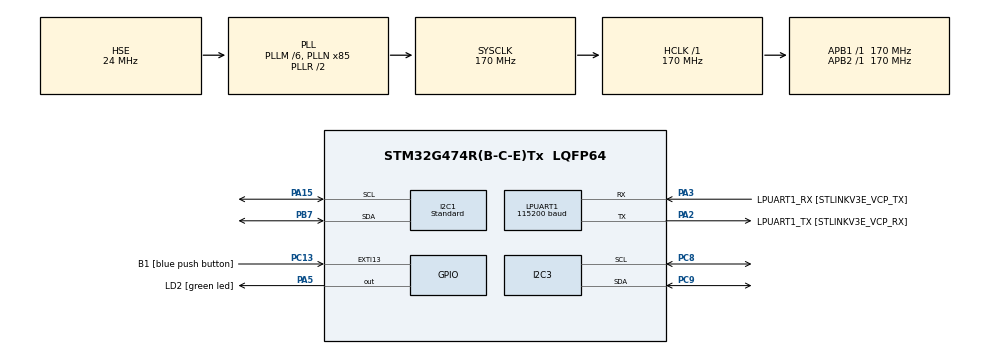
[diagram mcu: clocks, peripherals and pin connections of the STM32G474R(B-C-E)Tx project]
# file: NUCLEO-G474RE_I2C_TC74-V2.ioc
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I2C1.I2C_Speed_Mode=I2C_Standard
I2C1.Timing=0x30A0A7FB
I2C3.Timing=0x30A0A7FB
LPUART1.BaudRate=115200
LPUART1.WordLength=UART_WORDLENGTH_8B
Mcu.Family=STM32G4
Mcu.Name=STM32G474R(B-C-E)Tx
Mcu.Package=LQFP64
NVIC.EXTI15_10_IRQn=true\:0\:0\:false\:false\:true\:true\:true\:true
NVIC.PriorityGroup=NVIC_PRIORITYGROUP_4
PA13.GPIO_Label=T_SWDIO
PA13.Mode=Trace_Asynchronous_SW
PA13.Signal=SYS_JTMS-SWDIO
PA14.GPIO_Label=T_SWCLK
PA14.Mode=Trace_Asynchronous_SW
PA14.Signal=SYS_JTCK-SWCLK
PA15.Mode=I2C
PA15.Signal=I2C1_SCL
PA2.GPIO_Label=LPUART1_TX [STLINKV3E_VCP_RX]
PA2.Mode=Asynchronous
PA2.Signal=LPUART1_TX
PA3.GPIO_Label=LPUART1_RX [STLINKV3E_VCP_TX]
PA3.Mode=Asynchronous
PA3.Signal=LPUART1_RX
PA5.GPIO_Label=LD2 [green led]
PA5.Signal=GPIO_Output
PB3.GPIO_Label=T_SWO
PB3.Mode=Trace_Asynchronous_SW
PB3.Signal=SYS_JTDO-SWO
PB7.Mode=I2C
PB7.Signal=I2C1_SDA
PC13.GPIO_Label=B1 [blue push button]
PC13.Signal=GPXTI13
PC14-OSC32_IN.Mode=LSE-External-Oscillator
PC14-OSC32_IN.Signal=RCC_OSC32_IN
PC15-OSC32_OUT.Mode=LSE-External-Oscillator
PC15-OSC32_OUT.Signal=RCC_OSC32_OUT
PC8.Mode=I2C
PC8.Signal=I2C3_SCL
PC9.Mode=I2C
PC9.Signal=I2C3_SDA
PF0-OSC_IN.Mode=HSE-External-Oscillator
PF0-OSC_IN.Signal=RCC_OSC_IN
PF1-OSC_OUT.Mode=HSE-External-Oscillator
PF1-OSC_OUT.Signal=RCC_OSC_OUT
ProjectManager.HeapSize=0x200
ProjectManager.StackSize=0x400
ProjectManager.TargetToolchain=STM32CubeIDE
RCC.ADC12Freq_Value=170000000
RCC.ADC345Freq_Value=170000000
RCC.AHBFreq_Value=170000000
RCC.APB1Freq_Value=170000000
RCC.APB1TimFreq_Value=170000000
RCC.APB2Freq_Value=170000000
RCC.APB2TimFreq_Value=170000000
RCC.CortexFreq_Value=170000000
RCC.EXTERNAL_CLOCK_VALUE=12288000
RCC.HCLKFreq_Value=170000000
RCC.HSE_VALUE=24000000
RCC.HSI48_VALUE=48000000
RCC.HSI_VALUE=16000000
RCC.PLLM=RCC_PLLM_DIV6
RCC.PLLN=85
RCC.PLLSourceVirtual=RCC_PLLSOURCE_HSE
RCC.RTCClockSelection=RCC_RTCCLKSOURCE_LSE
RCC.SYSCLKFreq_VALUE=170000000
RCC.SYSCLKSource=RCC_SYSCLKSOURCE_PLLCLK
RCC.USBFreq_Value=170000000
RCC.VCOOutputFreq_Value=340000000
VP_SYS_VS_DBSignals.Mode=DisableDeadBatterySignals
board=NUCLEO-G474RE

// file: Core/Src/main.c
/* USER CODE BEGIN Header */
/**
 ******************************************************************************
 * @file           : main.c
 * @brief          : Main program body
 ******************************************************************************
 * @attention
 *
 * Copyright (c) 2023 STMicroelectronics.
 * All rights reserved.
 *
 * This software is licensed under terms that can be found in the LICENSE file
 * in the root directory of this software component.
 * If no LICENSE file comes with this software, it is provided AS-IS.
 *
 ******************************************************************************
 */
/* USER CODE END Header */
#include "main.h"

/* USER CODE BEGIN Includes */

#include <stdio.h>

/* USER CODE END Includes */

/* USER CODE BEGIN PD */

#define TC74_Standby 0x80
#define TC74_Normal 0x00
#define TC74_Address 0x4d
#define TC74_I2C_delay 200

/* USER CODE END PD */

I2C_HandleTypeDef hi2c1;
I2C_HandleTypeDef hi2c3;

UART_HandleTypeDef hlpuart1;

/* USER CODE BEGIN PV */

enum TC74_Command{
	TempCommand = 0,
	ConfigCommand,
};

enum TC74_ReadWriteFunc{
	TC74_ReadFunc = 0,
	TC74_WriteFunc,
	TC74_ReadTemperatureFunc,
	TC74_ReadConfigFunc,
	TC74_WriteConfigFunc,
};

/* USER CODE END PV */

void SystemClock_Config(void);
static void MX_GPIO_Init(void);
static void MX_LPUART1_UART_Init(void);
static void MX_I2C1_Init(void);
static void MX_I2C3_Init(void);
/* USER CODE BEGIN PFP */

#define PUTCHAR_PROTOTYPE int __io_putchar(int ch)

void TC74_Byte_ReadFunc_Temp (void);
void TC74_Byte_ReadFunc_Config (void);
void TC74_ReadFunc_LastCommand (void);
void TC74_Byte_ReadWriteFunc_ReadTemp (void);
void TC74_Byte_ReadWriteFunc_ReadConfig (void);
void TC74_Byte_ReadWriteFunc_WriteConfig_Normal (void);
void TC74_Byte_ReadWriteFunc_WriteConfig_Standby (void);
HAL_StatusTypeDef TC74_Byte_Read(I2C_HandleTypeDef *hi2c, uint16_t DevAddress, uint16_t Command, uint8_t *pData, uint32_t Timeout);
HAL_StatusTypeDef TC74_Byte_Write(I2C_HandleTypeDef *hi2c, uint16_t DevAddress, uint16_t Command, uint8_t *pData, uint32_t Timeout);
HAL_StatusTypeDef TC74_Receive_LastReadWriteAddress(I2C_HandleTypeDef *hi2c, uint16_t DevAddress, uint8_t *pData, uint32_t Timeout);
HAL_StatusTypeDef TC74_Byte_ReadWrite(I2C_HandleTypeDef *hi2c, uint16_t TC74_ReadWriteFunc, uint16_t DevAddress, uint8_t *pData, uint32_t Timeout);

/* USER CODE END PFP */

int main(void)
{

  /* MCU Configuration--------------------------------------------------------*/

  /* Reset of all peripherals, Initializes the Flash interface and the Systick. */
  HAL_Init();

  /* Configure the system clock */
  SystemClock_Config();

  /* Initialize all configured peripherals */
  MX_GPIO_Init();
  MX_LPUART1_UART_Init();
  MX_I2C1_Init();
  MX_I2C3_Init();
  /* USER CODE BEGIN 2 */

	printf("\n\n=======================================\n");
	printf("Start >> NUCLEO-G474RE_I2C_TC74-V2 \n");

	/*
	printf("----\n");
	printf("TC74_Byte_Read address = %X \n", TempCommand);
	TC74_Byte_Read(&hi2c3, TC74_Address, TempCommand, &TC74_temperature, 10);
	printf("TC74_temperature read data = %d \n", TC74_temperature);

	printf("----\n");
	printf("TC74_Byte_Read address = %X \n", ConfigCommand);
	TC74_Byte_Read(&hi2c3, TC74_Address, ConfigCommand, &TC74_config, 10);
	printf("TC74_config read data = %X \n", TC74_config);

	printf("----\n");
	printf("TC74_Byte_Write address = %X \n", ConfigCommand);
	TC74_config = TC74_Standby;
	TC74_Byte_Write(&hi2c3, TC74_Address, ConfigCommand, &TC74_config, 10);
	printf("TC74_config write data = %X \n", TC74_config);

	printf("----\n");
	printf("TC74_Byte_Read address = %X \n", TempCommand);
	TC74_Byte_Read(&hi2c3, TC74_Address, TempCommand, &TC74_temperature, 10);
	printf("TC74_temperature read data = %d \n", TC74_temperature);

	printf("----\n");
	printf("TC74_Byte_Read address = %X \n", TempCommand);
	TC74_Byte_Read(&hi2c3, TC74_Address, TempCommand, &TC74_temperature, 10);
	printf("TC74_temperature read data = %d \n", TC74_temperature);

	printf("----\n");
	printf("TC74_Receive_LastCommand \n");
	TC74_Receive_LastReadWriteAddress(&hi2c3, TC74_Address, &TC74_LastCommand, 10);
	printf("TC74_LastCommand = 0x%X = %d\n", TC74_LastCommand, TC74_LastCommand);
	*/
/*

	printf("----\n");
	printf("TC74_Byte_ReadWrite  = TC74_ReadConfigFunc \n");
	TC74_Byte_ReadWrite(&hi2c3, TC74_ReadConfigFunc, TC74_Address, &TC74_config, 10);
	printf("TC74_ReadConfigFuncc read data = 0x%X \n", TC74_config);

	printf("----\n");
	printf("TC74_Receive_LastCommand \n");
	TC74_Receive_LastReadWriteAddress(&hi2c3, TC74_Address, &TC74_LastCommand, 10);
	printf("TC74_LastCommand = 0x%X = %d\n", TC74_LastCommand, TC74_LastCommand);

	printf("----\n");
	printf("TC74_Byte_ReadWrite  = TC74_ReadTemperatureFunc \n");
	TC74_Byte_ReadWrite(&hi2c3, TC74_ReadTemperatureFunc, TC74_Address, &TC74_temperature, 10);
	printf("TC74_ReadTemperatureFunc read data = %d \n", TC74_temperature);

	printf("----\n");
	printf("TC74_Receive_LastCommand \n");
	TC74_Receive_LastReadWriteAddress(&hi2c3, TC74_Address, &TC74_LastCommand, 10);
	printf("TC74_LastCommand = 0x%X = %d\n", TC74_LastCommand, TC74_LastCommand);
*/
/*

	printf("----\n"); TC74_config = 0xff; // reset it
	printf("TC74_Byte_ReadWrite  = TC74_ReadConfigFunc \n");
	TC74_Byte_ReadWrite(&hi2c3, TC74_ReadConfigFunc, TC74_Address, &TC74_config, 10);
	printf("TC74_ReadConfigFunc read data = 0x%X \n", TC74_config);

	printf("----\n");
	printf("TC74_Receive_LastCommand \n");
	TC74_Receive_LastReadWriteAddress(&hi2c3, TC74_Address, &TC74_LastCommand, 10);
	printf("TC74_LastCommand = 0x%X = %d\n", TC74_LastCommand, TC74_LastCommand);

	printf("----\n"); TC74_temperature = 0xff; // reset it
	printf("TC74_Byte_ReadWrite  = TC74_ReadTemperatureFunc \n");
	TC74_Byte_ReadWrite(&hi2c3, TC74_ReadTemperatureFunc, TC74_Address, &TC74_temperature, 10);
	printf("TC74_ReadTemperatureFunc read data = %d \n", TC74_temperature);

	printf("----\n");
	TC74_config = TC74_Standby;
	printf("TC74_Byte_ReadWrite  = TC74_WriteConfigFunc = TC74_Standby = 0x%x \n", TC74_config);
	TC74_Byte_ReadWrite(&hi2c3, TC74_WriteConfigFunc, TC74_Address, &TC74_config, 10);
	printf("TC74_ReadConfigFunc write data = 0x%X \n", TC74_config);

	printf("----\n"); TC74_temperature = 0xff; // reset it
	printf("TC74_Byte_ReadWrite  = TC74_ReadTemperatureFunc \n");
	TC74_Byte_ReadWrite(&hi2c3, TC74_ReadTemperatureFunc, TC74_Address, &TC74_temperature, 10);
	printf("TC74_ReadTemperatureFunc read data = %d \n", TC74_temperature);

	printf("----\n"); TC74_LastCommand = 0xff; // reset it
	printf("TC74_Receive_LastCommand \n");
	TC74_Receive_LastReadWriteAddress(&hi2c3, TC74_Address, &TC74_LastCommand, 10);
	printf("TC74_LastCommand = 0x%X = %d\n", TC74_LastCommand, TC74_LastCommand);

	printf("----\n");
	TC74_config = TC74_Normal;
	printf("TC74_Byte_ReadWrite  = TC74_WriteConfigFunc = TC74_Normal = 0x%x \n", TC74_config);
	TC74_Byte_ReadWrite(&hi2c3, TC74_WriteConfigFunc, TC74_Address, &TC74_config, 10);
	printf("TC74_ReadConfigFunc write data = 0x%X \n", TC74_config);

	printf("----\n"); TC74_LastCommand = 0xff; // reset it
	TC74_Receive_LastReadWriteAddress(&hi2c3, TC74_Address, &TC74_LastCommand, 10);
	printf("TC74_LastCommand = 0x%X = %d\n", TC74_LastCommand, TC74_LastCommand);

	printf("----\n");
	printf("TC74_Byte_ReadWrite  = TC74_ReadConfigFunc \n");
	TC74_Byte_ReadWrite(&hi2c3, TC74_ReadConfigFunc, TC74_Address, &TC74_config, 10);
	printf("TC74_ReadConfigFuncc read data = 0x%X \n", TC74_config);

	printf("----\n"); TC74_temperature = 0xff; // reset it
	printf("TC74_Byte_ReadWrite  = TC74_ReadTemperatureFunc \n");
	TC74_Byte_ReadWrite(&hi2c3, TC74_ReadTemperatureFunc, TC74_Address, &TC74_temperature, 10);
	printf("TC74_ReadTemperatureFunc read data = %d \n", TC74_temperature);

	HAL_Delay(100);

	printf("----\n"); TC74_config = 0xff; // reset it
	printf("TC74_Byte_ReadWrite  = TC74_ReadConfigFunc \n");
	TC74_Byte_ReadWrite(&hi2c3, TC74_ReadConfigFunc, TC74_Address, &TC74_config, 10);
	printf("TC74_ReadConfigFuncc read data = 0x%X \n", TC74_config);
*/

	TC74_Byte_ReadFunc_Temp();

    while (HAL_I2C_GetState(&hi2c3) != HAL_I2C_STATE_READY)
    {
    }

	TC74_Byte_ReadFunc_Config();

	TC74_ReadFunc_LastCommand();

	TC74_Byte_ReadWriteFunc_ReadTemp();

	TC74_Byte_ReadWriteFunc_ReadConfig();

	TC74_Byte_ReadWriteFunc_WriteConfig_Standby();

	TC74_Byte_ReadWriteFunc_ReadConfig();

	TC74_Byte_ReadWriteFunc_ReadConfig();

	TC74_Byte_ReadWriteFunc_WriteConfig_Normal();

	TC74_Byte_ReadWriteFunc_ReadConfig();

	TC74_Byte_ReadWriteFunc_ReadConfig();

	printf("----\n");
	printf("End   >> NUCLEO-G474RE_I2C_TC74-V2 \n");
	printf("=======================================\n");

  /* USER CODE END 2 */

  /* Infinite loop */
	while (1)
	{

	}
}

void SystemClock_Config(void)
{
  RCC_OscInitTypeDef RCC_OscInitStruct = {0};
  RCC_ClkInitTypeDef RCC_ClkInitStruct = {0};

  /** Configure the main internal regulator output voltage
  */
  HAL_PWREx_ControlVoltageScaling(PWR_REGULATOR_VOLTAGE_SCALE1_BOOST);

  /** Initializes the RCC Oscillators according to the specified parameters
  * in the RCC_OscInitTypeDef structure.
  */
  RCC_OscInitStruct.OscillatorType = RCC_OSCILLATORTYPE_HSE;
  RCC_OscInitStruct.HSEState = RCC_HSE_ON;
  RCC_OscInitStruct.PLL.PLLState = RCC_PLL_ON;
  RCC_OscInitStruct.PLL.PLLSource = RCC_PLLSOURCE_HSE;
  RCC_OscInitStruct.PLL.PLLM = RCC_PLLM_DIV6;
  RCC_OscInitStruct.PLL.PLLN = 85;
  RCC_OscInitStruct.PLL.PLLP = RCC_PLLP_DIV2;
  RCC_OscInitStruct.PLL.PLLQ = RCC_PLLQ_DIV2;
  RCC_OscInitStruct.PLL.PLLR = RCC_PLLR_DIV2;
  if (HAL_RCC_OscConfig(&RCC_OscInitStruct) != HAL_OK)
  {
    Error_Handler();
  }

  /** Initializes the CPU, AHB and APB buses clocks
  */
  RCC_ClkInitStruct.ClockType = RCC_CLOCKTYPE_HCLK|RCC_CLOCKTYPE_SYSCLK
                              |RCC_CLOCKTYPE_PCLK1|RCC_CLOCKTYPE_PCLK2;
  RCC_ClkInitStruct.SYSCLKSource = RCC_SYSCLKSOURCE_PLLCLK;
  RCC_ClkInitStruct.AHBCLKDivider = RCC_SYSCLK_DIV1;
  RCC_ClkInitStruct.APB1CLKDivider = RCC_HCLK_DIV1;
  RCC_ClkInitStruct.APB2CLKDivider = RCC_HCLK_DIV1;

  if (HAL_RCC_ClockConfig(&RCC_ClkInitStruct, FLASH_LATENCY_4) != HAL_OK)
  {
    Error_Handler();
  }
}

static void MX_I2C1_Init(void)
{

  hi2c1.Instance = I2C1;
  hi2c1.Init.Timing = 0x30A0A7FB;
  hi2c1.Init.OwnAddress1 = 0;
  hi2c1.Init.AddressingMode = I2C_ADDRESSINGMODE_7BIT;
  hi2c1.Init.DualAddressMode = I2C_DUALADDRESS_DISABLE;
  hi2c1.Init.OwnAddress2 = 0;
  hi2c1.Init.OwnAddress2Masks = I2C_OA2_NOMASK;
  hi2c1.Init.GeneralCallMode = I2C_GENERALCALL_DISABLE;
  hi2c1.Init.NoStretchMode = I2C_NOSTRETCH_DISABLE;
  if (HAL_I2C_Init(&hi2c1) != HAL_OK)
  {
    Error_Handler();
  }

  /** Configure Analogue filter
  */
  if (HAL_I2CEx_ConfigAnalogFilter(&hi2c1, I2C_ANALOGFILTER_ENABLE) != HAL_OK)
  {
    Error_Handler();
  }

  /** Configure Digital filter
  */
  if (HAL_I2CEx_ConfigDigitalFilter(&hi2c1, 0) != HAL_OK)
  {
    Error_Handler();
  }

}

static void MX_I2C3_Init(void)
{

  hi2c3.Instance = I2C3;
  hi2c3.Init.Timing = 0x30A0A7FB;
  hi2c3.Init.OwnAddress1 = 0;
  hi2c3.Init.AddressingMode = I2C_ADDRESSINGMODE_7BIT;
  hi2c3.Init.DualAddressMode = I2C_DUALADDRESS_DISABLE;
  hi2c3.Init.OwnAddress2 = 0;
  hi2c3.Init.OwnAddress2Masks = I2C_OA2_NOMASK;
  hi2c3.Init.GeneralCallMode = I2C_GENERALCALL_DISABLE;
  hi2c3.Init.NoStretchMode = I2C_NOSTRETCH_DISABLE;
  if (HAL_I2C_Init(&hi2c3) != HAL_OK)
  {
    Error_Handler();
  }

  /** Configure Analogue filter
  */
  if (HAL_I2CEx_ConfigAnalogFilter(&hi2c3, I2C_ANALOGFILTER_ENABLE) != HAL_OK)
  {
    Error_Handler();
  }

  /** Configure Digital filter
  */
  if (HAL_I2CEx_ConfigDigitalFilter(&hi2c3, 0) != HAL_OK)
  {
    Error_Handler();
  }

}

static void MX_LPUART1_UART_Init(void)
{

  hlpuart1.Instance = LPUART1;
  hlpuart1.Init.BaudRate = 115200;
  hlpuart1.Init.WordLength = UART_WORDLENGTH_8B;
  hlpuart1.Init.StopBits = UART_STOPBITS_1;
  hlpuart1.Init.Parity = UART_PARITY_NONE;
  hlpuart1.Init.Mode = UART_MODE_TX_RX;
  hlpuart1.Init.HwFlowCtl = UART_HWCONTROL_NONE;
  hlpuart1.Init.OneBitSampling = UART_ONE_BIT_SAMPLE_DISABLE;
  hlpuart1.Init.ClockPrescaler = UART_PRESCALER_DIV1;
  hlpuart1.AdvancedInit.AdvFeatureInit = UART_ADVFEATURE_NO_INIT;
  if (HAL_UART_Init(&hlpuart1) != HAL_OK)
  {
    Error_Handler();
  }
  if (HAL_UARTEx_SetTxFifoThreshold(&hlpuart1, UART_TXFIFO_THRESHOLD_1_8) != HAL_OK)
  {
    Error_Handler();
  }
  if (HAL_UARTEx_SetRxFifoThreshold(&hlpuart1, UART_RXFIFO_THRESHOLD_1_8) != HAL_OK)
  {
    Error_Handler();
  }
  if (HAL_UARTEx_DisableFifoMode(&hlpuart1) != HAL_OK)
  {
    Error_Handler();
  }

}

static void MX_GPIO_Init(void)
{
  GPIO_InitTypeDef GPIO_InitStruct = {0};

  /* GPIO Ports Clock Enable */
  __HAL_RCC_GPIOC_CLK_ENABLE();
  __HAL_RCC_GPIOF_CLK_ENABLE();
  __HAL_RCC_GPIOA_CLK_ENABLE();
  __HAL_RCC_GPIOB_CLK_ENABLE();

  /*Configure GPIO pin Output Level */
  HAL_GPIO_WritePin(LD2_GPIO_Port, LD2_Pin, GPIO_PIN_RESET);

  /*Configure GPIO pin : B1_Pin */
  GPIO_InitStruct.Pin = B1_Pin;
  GPIO_InitStruct.Mode = GPIO_MODE_IT_RISING;
  GPIO_InitStruct.Pull = GPIO_NOPULL;
  HAL_GPIO_Init(B1_GPIO_Port, &GPIO_InitStruct);

  /*Configure GPIO pin : LD2_Pin */
  GPIO_InitStruct.Pin = LD2_Pin;
  GPIO_InitStruct.Mode = GPIO_MODE_OUTPUT_PP;
  GPIO_InitStruct.Pull = GPIO_NOPULL;
  GPIO_InitStruct.Speed = GPIO_SPEED_FREQ_LOW;
  HAL_GPIO_Init(LD2_GPIO_Port, &GPIO_InitStruct);

  /* EXTI interrupt init*/
  HAL_NVIC_SetPriority(EXTI15_10_IRQn, 0, 0);
  HAL_NVIC_EnableIRQ(EXTI15_10_IRQn);

}

/* USER CODE BEGIN 4 */

PUTCHAR_PROTOTYPE
{
	/* Place your implementation of fputc here */
	/* e.g. write a character to the LPUART1 and Loop until the end of transmission */
	HAL_UART_Transmit(&hlpuart1, (uint8_t *)&ch, 1, 0xFFFF);

	return ch;
}

void TC74_Byte_ReadFunc_Temp (void)
{
	uint8_t TC74_temperature;
	printf("----\n");
	printf("TC74_Byte_Read address = TempCommand = %X \n", TempCommand);
	TC74_Byte_Read(&hi2c3, TC74_Address, TempCommand, &TC74_temperature, 10);
	printf("TC74_temperature read data = %d \n", TC74_temperature);
}

void TC74_Byte_ReadFunc_Config (void)
{
	uint8_t TC74_config;
	printf("----\n");
	printf("TC74_Byte_Read address = ConfigCommand = %X \n", ConfigCommand);
	TC74_Byte_Read(&hi2c3, TC74_Address, ConfigCommand, &TC74_config, 10);
	printf("TC74_config read data = %X \n", TC74_config);
}

void TC74_ReadFunc_LastCommand (void)
{
	uint8_t TC74_LastCommand;
	printf("----\n");
	printf("TC74_Receive_LastCommand \n");
	TC74_Receive_LastReadWriteAddress(&hi2c3, TC74_Address, &TC74_LastCommand, 10);
	printf("TC74_LastCommand = 0x%X = %d\n", TC74_LastCommand, TC74_LastCommand);
}

void TC74_Byte_ReadWriteFunc_ReadTemp (void)
{
	uint8_t TC74_temperature;
	printf("----\n");
	printf("TC74_Byte_ReadWrite  = TC74_ReadTemperatureFunc \n");
	TC74_Byte_ReadWrite(&hi2c3, TC74_ReadTemperatureFunc, TC74_Address, &TC74_temperature, 10);
	printf("TC74_ReadTemperatureFunc read data = %d \n", TC74_temperature);
}

void TC74_Byte_ReadWriteFunc_ReadConfig (void)
{
	uint8_t TC74_config;
	printf("----\n");
	printf("TC74_Byte_ReadWrite  = TC74_ReadConfigFunc \n");
	TC74_Byte_ReadWrite(&hi2c3, TC74_ReadConfigFunc, TC74_Address, &TC74_config, 10);
	printf("TC74_ReadConfigFuncc read data = 0x%X \n", TC74_config);
}

void TC74_Byte_ReadWriteFunc_WriteConfig_Normal (void)
{
	uint8_t TC74_config = TC74_Normal;
	printf("----\n");
	printf("TC74_Byte_ReadWrite  = TC74_WriteConfigFunc = TC74_Normal \n");
	TC74_Byte_ReadWrite(&hi2c3, TC74_WriteConfigFunc, TC74_Address, &TC74_config, 10);
	printf("TC74_ReadConfigFuncc read data = 0x%X \n", TC74_config);
}

void TC74_Byte_ReadWriteFunc_WriteConfig_Standby (void)
{
	uint8_t TC74_config = TC74_Standby;
	printf("----\n");
	printf("TC74_Byte_ReadWrite  = TC74_WriteConfigFunc = TC74_Standby \n");
	TC74_Byte_ReadWrite(&hi2c3, TC74_WriteConfigFunc, TC74_Address, &TC74_config, 10);
	printf("TC74_ReadConfigFuncc read data = 0x%X \n", TC74_config);
}

HAL_StatusTypeDef TC74_Byte_Read(I2C_HandleTypeDef *hi2c, uint16_t DevAddress, uint16_t Command, uint8_t *pData, uint32_t Timeout)
{
	HAL_StatusTypeDef status;
	status = HAL_I2C_Mem_Read(hi2c, DevAddress << 1,  Command, 1, pData, 1, Timeout);
	printf("TC74_Byte_Read status = 0x%X \n", status);
	HAL_Delay(TC74_I2C_delay);
	return status;
}

HAL_StatusTypeDef TC74_Byte_Write(I2C_HandleTypeDef *hi2c, uint16_t DevAddress, uint16_t Command, uint8_t *pData, uint32_t Timeout)
{
	HAL_StatusTypeDef status;
	status = HAL_I2C_Mem_Write(hi2c, DevAddress << 1,  Command, 1, pData, 1, Timeout);
	printf("TC74_Byte_Write status = 0x%X \n", status);
	HAL_Delay(TC74_I2C_delay);
	return status;
}

HAL_StatusTypeDef TC74_Receive_LastReadWriteAddress(I2C_HandleTypeDef *hi2c, uint16_t DevAddress, uint8_t *pData, uint32_t Timeout)
{
	HAL_StatusTypeDef status;
	status = HAL_I2C_Master_Receive(hi2c, DevAddress << 1, pData,  1, Timeout);
	printf("TC74_Receive_LastReadWriteAddress status = 0x%X \n", status);
	HAL_Delay(TC74_I2C_delay);
	return status;
}

HAL_StatusTypeDef TC74_Byte_ReadWrite(I2C_HandleTypeDef *hi2c, uint16_t TC74_ReadWriteFunc, uint16_t DevAddress, uint8_t *pData, uint32_t Timeout)
{
	HAL_StatusTypeDef status;
	if(TC74_ReadWriteFunc == TC74_ReadTemperatureFunc)
		status = HAL_I2C_Mem_Read(hi2c, DevAddress << 1,  TempCommand, 1, pData, 1, Timeout);
	else if (TC74_ReadWriteFunc == TC74_ReadConfigFunc)
		status = HAL_I2C_Mem_Read(hi2c, DevAddress << 1,  ConfigCommand, 1, pData, 1, Timeout);
	else if (TC74_ReadWriteFunc == TC74_WriteConfigFunc)
		status = HAL_I2C_Mem_Write(hi2c, DevAddress << 1,  ConfigCommand, 1, pData, 1, Timeout);
	else
		status = 0xff;
	printf("TC74_Byte_ReadWrite status = 0x%X \n", status);
	HAL_Delay(TC74_I2C_delay);
	return status;
}

/* USER CODE END 4 */

void Error_Handler(void)
{
  /* USER CODE BEGIN Error_Handler_Debug */
	/* User can add his own implementation to report the HAL error return state */
	printf("Error_Handler \n");
	__disable_irq();
	while (1)
	{
	}
  /* USER CODE END Error_Handler_Debug */
}
